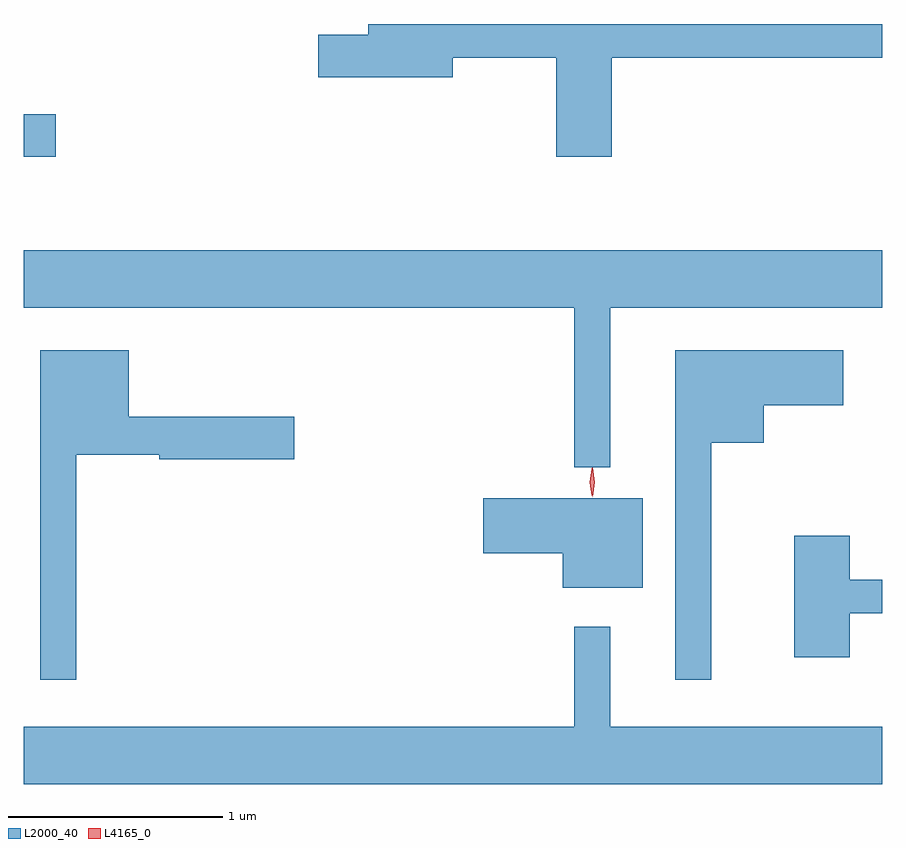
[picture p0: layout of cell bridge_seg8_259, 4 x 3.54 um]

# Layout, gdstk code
import gdstk
lib = gdstk.Library(unit=1e-6, precision=1e-09)
def R(c, l, rs):  # rectangles x0, y0, x1, y1
    for r in rs: c.add(gdstk.rectangle(r[:2], r[2:], *l))
def P(c, l, *ps):  # polygons
    for p in ps: c.add(gdstk.Polygon(p, *l))
L2000_40 = (2000, 40)
L4165_0 = (4165, 0)

bridge_seg8_259 = lib.new_cell('bridge_seg8_259')
R(bridge_seg8_259, L2000_40, [(1216.225,1812.701,1216.374,1812.899)])
P(bridge_seg8_259, L2000_40, [(1218.964,1813.161),(1220.225,1813.161),(1220.225,1813.319),(1217.831,1813.319),(1217.831,1813.269),(1217.596,1813.269),(1217.596,1813.071),(1218.224,1813.071),(1218.224,1813.161),(1218.706,1813.161),(1218.706,1812.701),(1218.964,1812.701)],
  [(1218.959,1811.996),(1220.225,1811.996),(1220.225,1812.264),(1216.225,1812.264),(1216.225,1811.996),(1218.791,1811.996),(1218.791,1811.253),(1218.959,1811.253)],
  [(1219.429,1811.366),(1219.674,1811.366),(1219.674,1811.541),(1220.044,1811.541),(1220.044,1811.799),(1219.261,1811.799),(1219.261,1810.263),(1219.429,1810.263)],
  [(1216.469,1811.311),(1216.856,1811.311),(1216.856,1811.291),(1217.484,1811.291),(1217.484,1811.489),(1216.714,1811.489),(1216.714,1811.799),(1216.301,1811.799),(1216.301,1810.263),(1216.469,1810.263)],
  [(1219.109,1811.109),(1218.366,1811.109),(1218.366,1810.851),(1218.736,1810.851),(1218.736,1810.691),(1219.109,1810.691)],
  [(1220.074,1810.571),(1220.225,1810.571),(1220.225,1810.729),(1220.074,1810.729),(1220.074,1810.934),(1219.816,1810.934),(1219.816,1810.366),(1220.074,1810.366)],
  [(1220.225,1810.044),(1218.959,1810.044),(1218.959,1810.508),(1218.791,1810.508),(1218.791,1810.044),(1216.225,1810.044),(1216.225,1809.776),(1220.225,1809.776)])
P(bridge_seg8_259, L4165_0, [(1218.876,1811.114),(1218.876,1811.114),(1218.866,1811.182),(1218.875,1811.25),(1218.875,1811.25),(1218.876,1811.25),(1218.886,1811.182),(1218.877,1811.114)],
  [(1218.871,1811.12),(1218.862,1811.183),(1218.871,1811.246),(1218.872,1811.247),(1218.872,1811.246),(1218.882,1811.183),(1218.872,1811.12),(1218.872,1811.12)])

lib.write_gds('bridge_seg8_259.gds')
